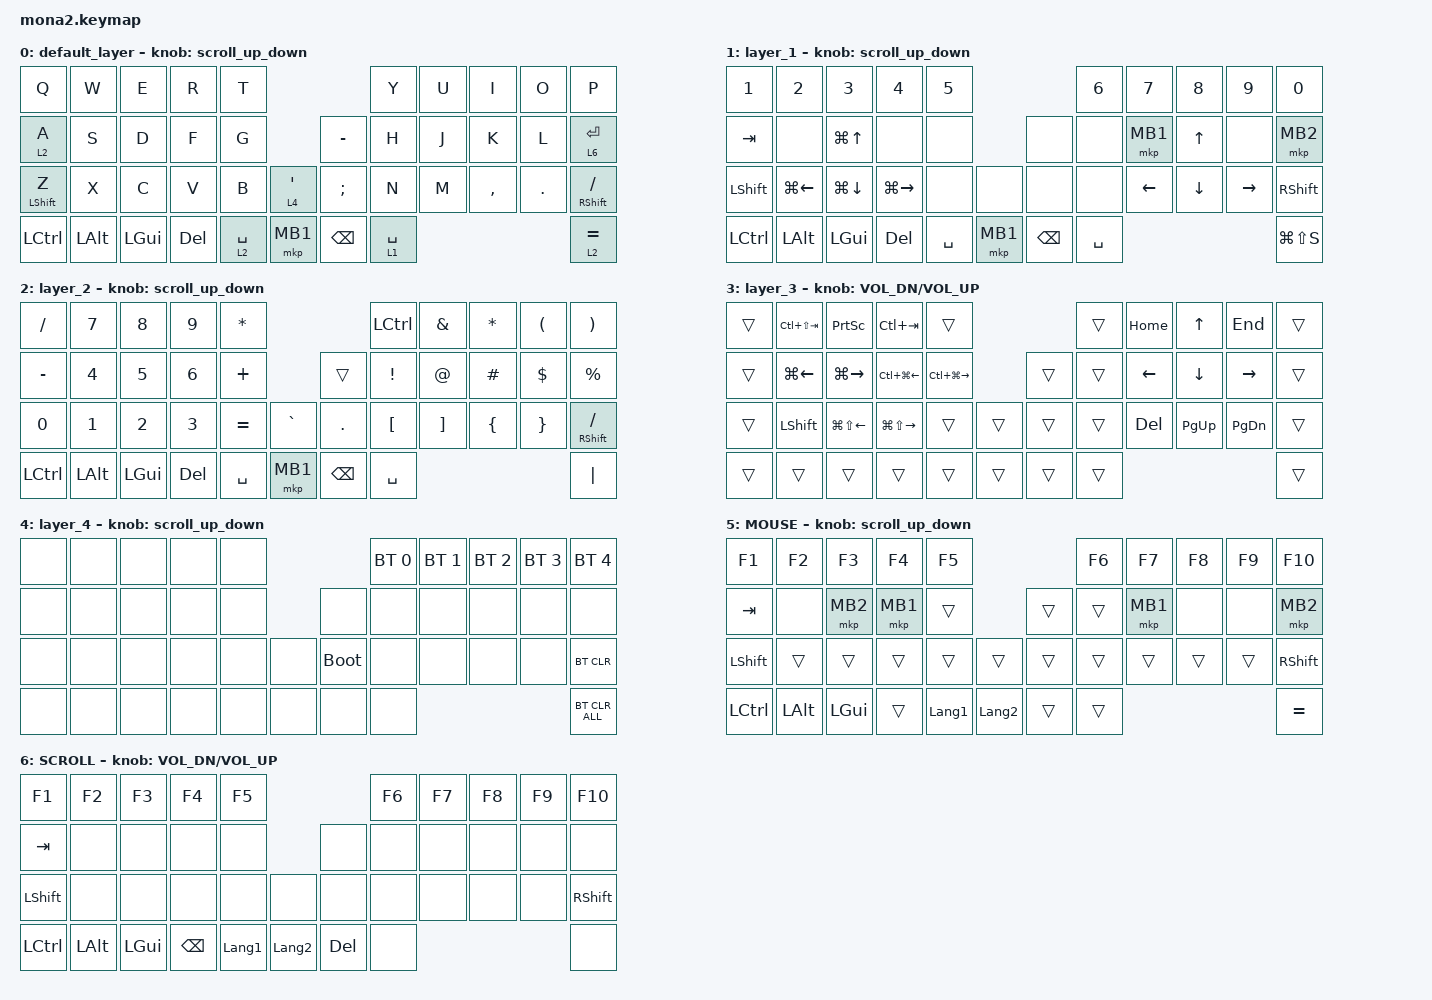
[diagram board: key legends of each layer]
#include <input/processors.dtsi>
#include <dt-bindings/zmk/input_transform.h>
#include <zephyr/dt-bindings/input/input-event-codes.h>
#include <behaviors.dtsi>
#include <dt-bindings/zmk/bt.h>
#include <dt-bindings/zmk/keys.h>
#include <dt-bindings/zmk/pointing.h>

#define ZMK_POINTING_DEFAULT_SCRL_VAL 100
#define MOUSE 5
#define SCROLL 6

&mt {
    flavor = "tap-preferred";
    tapping-term-ms = <230>;
    quick-tap-ms = <175>;
    require-prior-idle-ms = <80>;
    hold-trigger-on-release;
};

&lt { flavor = "balanced"; };

/ {
    combos {
        compatible = "zmk,combos";

        layer4_ESC {
            bindings = <&lt 4 ESC>;
            key-positions = <0 1>;
        };

        screenshot {
            bindings = <&kp LG(LS(S))>;
            key-positions = <38 39>;
        };
    };

    macros {
        to_layer_0: to_layer_0 {
            compatible = "zmk,behavior-macro-one-param";
            #binding-cells = <1>;
            bindings = <&to 0 &macro_param_1to1 &kp MACRO_PLACEHOLDER>;
            label = "TO_LAYER_0";
        };
    };

    behaviors {
        lt_to_layer_0: lt_to_layer_0 {
            compatible = "zmk,behavior-hold-tap";
            label = "LAYER_TAP_TO_0";
            bindings = <&mo>, <&to_layer_0>;

            #binding-cells = <2>;
            tapping-term-ms = <200>;
        };

        scroll_up_down: mouse_wheel_up_down {
            compatible = "zmk,behavior-sensor-rotate";
            #sensor-binding-cells = <0>;
            bindings = <&msc SCRL_DOWN>, <&msc SCRL_UP>;

            tap-ms = <20>;
        };

        scroll_right_left: mouse_wheel_right_left {
            compatible = "zmk,behavior-sensor-rotate";
            #sensor-binding-cells = <0>;
            bindings = <&msc SCRL_LEFT>, <&msc SCRL_RIGHT>;

            tap-ms = <20>;
        };
    };

    keymap {
        compatible = "zmk,keymap";

        default_layer {
            bindings = <
&kp Q             &kp W         &kp E         &kp R       &kp T                                    &kp Y        &kp U  &kp I      &kp O    &kp P
&lt 2 A           &kp S         &kp D         &kp F       &kp G                     &kp MINUS      &kp H        &kp J  &kp K      &kp L    &lt 6 ENTER
&mt LEFT_SHIFT Z  &kp X         &kp C         &kp V       &kp B        &lt 4 SQT    &kp SEMICOLON  &kp N        &kp M  &kp COMMA  &kp DOT  &mt RIGHT_SHIFT SLASH
&kp LCTRL         &kp LEFT_ALT  &kp LEFT_GUI  &kp DELETE  &lt 2 SPACE  &mkp MB1     &kp BACKSPACE  &lt 1 SPACE                             &lt 2 EQUAL
            >;

            sensor-bindings = <&scroll_up_down>;
        };

        layer_1 {
            bindings = <
&kp NUMBER_1    &kp NUMBER_2        &kp NUMBER_3        &kp NUMBER_4         &kp NUMBER_5                             &kp NUMBER_6  &kp NUMBER_7    &kp NUMBER_8    &kp NUMBER_9     &kp NUMBER_0
&kp TAB         &none               &kp LG(UP_ARROW)    &none                &none                     &none          &none         &mkp MB1        &kp UP_ARROW    &none            &mkp MB2
&kp LEFT_SHIFT  &kp LG(LEFT_ARROW)  &kp LG(DOWN_ARROW)  &kp LG(RIGHT_ARROW)  &none         &none       &none          &none         &kp LEFT_ARROW  &kp DOWN_ARROW  &kp RIGHT_ARROW  &kp RIGHT_SHIFT
&kp LCTRL       &kp LEFT_ALT        &kp LEFT_GUI        &kp DEL              &kp SPACE     &mkp MB1    &kp BACKSPACE  &kp SPACE                                                      &kp LG(LS(S))
            >;

            sensor-bindings = <&scroll_up_down>;
        };

        layer_2 {
            bindings = <
&kp FSLH   &kp NUMBER_7  &kp NUMBER_8  &kp NUMBER_9  &kp ASTERISK                              &kp LCTRL         &kp AMPERSAND      &kp ASTERISK    &kp LEFT_PARENTHESIS  &kp RIGHT_PARENTHESIS
&kp MINUS  &kp NUMBER_4  &kp NUMBER_5  &kp NUMBER_6  &kp PLUS                   &trans         &kp EXCLAMATION   &kp AT_SIGN        &kp HASH        &kp DOLLAR            &kp PERCENT
&kp N0     &kp NUMBER_1  &kp NUMBER_2  &kp NUMBER_3  &kp EQUAL     &kp GRAVE    &kp DOT        &kp LEFT_BRACKET  &kp RIGHT_BRACKET  &kp LEFT_BRACE  &kp RIGHT_BRACE       &mt RIGHT_SHIFT SLASH
&kp LCTRL  &kp LALT      &kp LGUI      &kp DELETE    &kp SPACE     &mkp MB1     &kp BACKSPACE  &kp SPACE                                                                  &kp PIPE
            >;

            sensor-bindings = <&scroll_up_down>;
        };

        layer_3 {
            bindings = <
&trans  &kp LC(LS(TAB))     &kp PRINTSCREEN         &kp LC(TAB)              &trans                                     &trans  &kp HOME        &kp UP_ARROW    &kp END          &trans
&trans  &kp LG(LEFT_ARROW)  &kp LG(RIGHT_ARROW)     &kp LC(LG(LEFT_ARROW))   &kp LC(LG(RIGHT_ARROW))            &trans  &trans  &kp LEFT_ARROW  &kp DOWN_ARROW  &kp RIGHT_ARROW  &trans
&trans  &kp LEFT_SHIFT      &kp LG(LS(LEFT_ARROW))  &kp LG(LS(RIGHT_ARROW))  &trans                   &trans    &trans  &trans  &kp DELETE      &kp PAGE_UP     &kp PAGE_DOWN    &trans
&trans  &trans              &trans                  &trans                   &trans                   &trans    &trans  &trans                                                   &trans
            >;

            sensor-bindings = <&inc_dec_kp C_VOL_DN C_VOL_UP>;
        };

        layer_4 {
            bindings = <
&none  &none  &none  &none  &none                        &bt BT_SEL 0  &bt BT_SEL 1  &bt BT_SEL 2  &bt BT_SEL 3  &bt BT_SEL 4
&none  &none  &none  &none  &none           &none        &none         &none         &none         &none         &none
&none  &none  &none  &none  &none  &none    &bootloader  &none         &none         &none         &none         &bt BT_CLR
&none  &none  &none  &none  &none  &none    &none        &none                                                   &bt BT_CLR_ALL
            >;

            sensor-bindings = <&scroll_up_down>;
        };

        MOUSE {
            bindings = <
&kp F1     &kp F2    &kp F3    &kp F4    &kp F5                                    &kp F6  &kp F7    &kp F8  &kp F9  &kp F10
&kp TAB    &none     &mkp MB2  &mkp MB1  &trans                            &trans  &trans  &mkp MB1  &none   &none   &mkp MB2
&kp LSHFT  &trans    &trans    &trans    &trans          &trans            &trans  &trans  &trans    &trans  &trans  &kp RIGHT_SHIFT
&kp LCTRL  &kp LALT  &kp LGUI  &trans    &kp LANGUAGE_1  &kp LANGUAGE_2    &trans  &trans                            &kp EQUAL
            >;

            sensor-bindings = <&scroll_up_down>;
        };

        SCROLL {
            bindings = <
&kp F1     &kp F2    &kp F3    &kp F4         &kp F5                                        &kp F6  &kp F7  &kp F8  &kp F9  &kp F10
&kp TAB    &none     &none     &none          &none                             &none       &none   &none   &none   &none   &none
&kp LSHFT  &none     &none     &none          &none           &none             &none       &none   &none   &none   &none   &kp RSHFT
&kp LCTRL  &kp LALT  &kp LGUI  &kp BACKSPACE  &kp LANGUAGE_1  &kp LANGUAGE_2    &kp DELETE  &none                           &none
            >;

            sensor-bindings = <&inc_dec_kp C_VOL_DN C_VOL_UP>;
        };
    };
};
